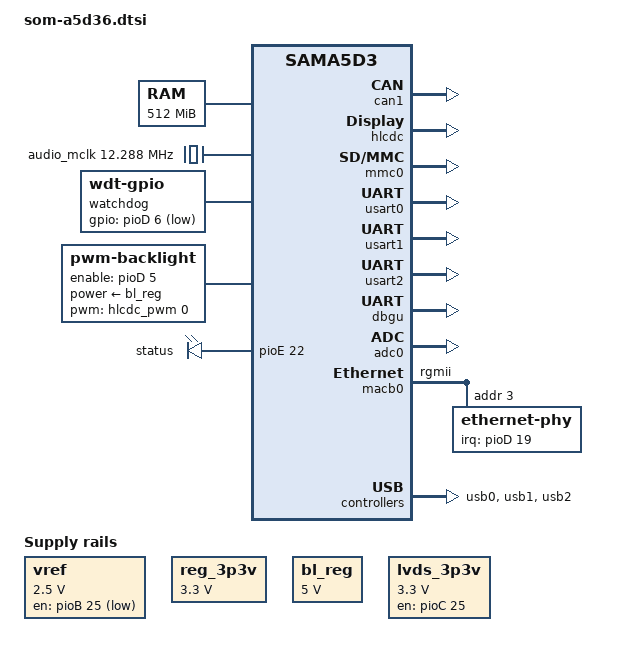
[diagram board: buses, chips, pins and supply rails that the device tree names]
/*
 * som-a5d36.dtsi - Device Tree inclue file for the SOM-3354M with SOM-2xx carriers.
 *
 * Copyright (C) 2018 EMAC Inc.
 *
 * This program is free software; you can redistribute it and/or modify
 * it under the terms of the GNU General Public License version 2 as
 * published by the Free Software Foundation.
 */

#include "sama5d36.dtsi"


/ {
	compatible = "emac,soma5d36", "atmel,sama5d3", "atmel,sama5";

	aliases {
		spi0 = &spi0;
	};

	memory {
		reg = <0x20000000 0x20000000>;
	};

	clocks {
		#address-cells = <1>;
		#size-cells = <1>;
		ranges;

		slow_xtal {
			clock-frequency = <32768>;
		};

		main_xtal {
			clock-frequency = <12000000>;
		};

		main_clock: clock@0 {
			compatible = "atmel,osc", "fixed-clock";
			clock-frequency = <12000000>;
		};

		audio_mclk: audio_mclk {
			compatible = "fixed-clock";
			#clock-cells = <0>;
			clock-frequency = <12288000>;
			clock-output-names = "mclk";
		};
	};

	regulators {
		compatible = "simple-bus";
		#address-cells = <1>;
		#size-cells = <0>;

		vref: regulator@0 {
			compatible = "regulator-fixed";
			reg = <0>;
			regulator-name = "vref";
			regulator-min-microvolt = <2500000>;
			regulator-max-microvolt = <2500000>;
			regulator-always-on;
			gpio = <&pioB 25 GPIO_ACTIVE_HIGH>;
		};

		reg_3p3v: regulator@1 {
			compatible = "regulator-fixed";
			reg = <1>;
			regulator-name = "reg_3p3v";
			regulator-min-microvolt = <3300000>;
			regulator-max-microvolt = <3300000>;
			regulator-always-on;
		};

		bl_reg: backlight-regulator {
			compatible = "regulator-fixed";
			reg = <2>;
			regulator-name = "backlight-power-supply";
			regulator-min-microvolt = <5000000>;
			regulator-max-microvolt = <5000000>;
			regulator-boot-on;
			regulator-always-on;
		};

		lvds_3p3v: lvds_3p3v_reg {
			compatible = "regulator-fixed";
			reg = <3>;
			regulator-name = "LVDS 3P3V";
			regulator-min-microvolt = <3300000>;
			regulator-max-microvolt = <3300000>;
			regulator-boot-on;
			enable-active-high;
			gpio = <&pioC 25 GPIO_ACTIVE_LOW>;
		};
	};

	ahb {
		apb {
			pinctrl@fffff200 {
				pck0 {
					pinctrl_pck0: pck0_as_clk_mck {
						atmel,pins =
							<AT91_PIOD 30 AT91_PERIPH_B AT91_PINCTRL_NONE>;
					};
				};

				usba {
					pinctrl_usba_vbus: usba_vbus {
						atmel,pins =
							<AT91_PIOC 27 AT91_PERIPH_GPIO AT91_PINCTRL_DEGLITCH>;
					};
				};

				ssc0 {
					pinctrl_ssc0_txrx: ssc0_txrx {
						atmel,pins =
							<AT91_PIOC 16 AT91_PERIPH_A AT91_PINCTRL_NONE	/* PC16 periph A TK0 */
							 AT91_PIOC 17 AT91_PERIPH_A AT91_PINCTRL_NONE	/* PC17 periph A TF0 */
							 AT91_PIOC 18 AT91_PERIPH_A AT91_PINCTRL_NONE	/* PC18 periph A TD0 */
							 AT91_PIOC 20 AT91_PERIPH_A AT91_PINCTRL_NONE	/* PC20 periph A RF0 */
							 AT91_PIOC 21 AT91_PERIPH_A AT91_PINCTRL_NONE>;	/* PC21 periph A RD0 */
					};
				};
			};

			can1: can@f8010000 {
				status = "okay";
			};

			hlcdc: hlcdc@f0030000 {
				status = "okay";

				hlcdc-display-controller {
				pinctrl-names = "default";
				pinctrl-0 = <&pinctrl_lcd_base &pinctrl_lcd_rgb888>;

					port@0 {
						hlcdc_panel_output: endpoint@0 {
							reg = <0>;
							remote-endpoint = <&panel_input>;
						};
					};
				};
			};

			mmc0: mmc@f0000000 {
				pinctrl-names = "default";
				pinctrl-0 = <&pinctrl_mmc0_clk_cmd_dat0 &pinctrl_mmc0_dat1_3>;
				status = "okay";
				slot@0 {
					reg = <0>;
					bus-width = <4>;
					non-removable;
				};
			};

			usart0: serial@f001c000 {
				atmel,use-dma-tx;
				atmel,use-dma-rx;
				status = "okay";
			};

			usart1: serial@f0020000 {
				pinctrl-names = "default";
				pinctrl-0 = <&pinctrl_usart1 &pinctrl_usart1_rts_cts>;
				atmel,use-dma-tx;
				atmel,use-dma-rx;
				status = "okay";
			};

			usart2: serial@f8020000 {
				pinctrl-names = "default";
				pinctrl-0 = <&pinctrl_usart2 &pinctrl_usart2_rts_cts>;
				atmel,use-dma-tx;
				atmel,use-dma-rx;

				status = "okay";
			};

			dbgu: serial@ffffee00 {
				atmel,use-dma-tx;
				atmel,use-dma-rx;
				status = "okay";
			};

			ssc0: ssc@f0008000 {
				#sound-dai-cells = <0>;
				pinctrl-names = "default";
				pinctrl-0 = <&pinctrl_ssc0_txrx>;
				status = "okay";
			};

			adc0: adc@f8018000 {
				pinctrl-names = "default";
				pinctrl-0 = <
					&pinctrl_adc0_ad0
					&pinctrl_adc0_ad1
					&pinctrl_adc0_ad2
					&pinctrl_adc0_ad3
					&pinctrl_adc0_ad4
					&pinctrl_adc0_ad5
					&pinctrl_adc0_ad6
					&pinctrl_adc0_ad7
					>;

				atmel,adc-vref = <2500>;
				atmel,adc-channels-used = <0xff>;
				atmel,adc-ts-wires = <4>;
				atmel,adc-ts-pressure-threshold = <10000>;
				status = "okay";
			};

			macb0: ethernet@f0028000 {
				phy-mode = "rgmii";
				status = "okay";
				#address-cells = <1>;
				#size-cells = <0>;

				ethernet-phy@3 {
					reg = <0x3>;
					interrupt-parent = <&pioD>;
					interrupts = <19 IRQ_TYPE_EDGE_FALLING>;
					txen-skew-ps = <800>;
					txc-skew-ps = <3000>;
					rxdv-skew-ps = <400>;
					rxc-skew-ps = <3000>;
					rxd0-skew-ps = <400>;
					rxd1-skew-ps = <400>;
					rxd2-skew-ps = <400>;
					rxd3-skew-ps = <400>;
				};
			};
		};

		usb0: gadget@500000 {
			atmel,vbus-gpio = <&pioC 27 GPIO_ACTIVE_HIGH>;
			pinctrl-names = "default";
			pinctrl-0 = <&pinctrl_usba_vbus>;
			status = "okay";
		};

		usb1: ohci@600000 {
			num-ports = <3>;
			status = "okay";
		};

		usb2: ehci@700000 {
			status = "okay";
		};
	};
	
	watchdog {
		/* MAX6747 */
		compatible = "linux,wdt-gpio";
		gpios = <&pioD 6 GPIO_ACTIVE_LOW>;
		hw_algo = "toggle";
		hw_margin_ms = <1000>;
	};

	backlight: backlight {
		compatible = "pwm-backlight";
		pwms = <&hlcdc_pwm 0 50000 0>;
		power-supply = <&bl_reg>;
		enable-gpios = <&pioD 5 GPIO_ACTIVE_HIGH>;
		brightness-levels = <0 4 8 16 32 64 128 255>;
		default-brightness-level = <6>;
		status = "okay";
	};

	gpio-leds {
		compatible = "gpio-leds";
		pinctrl-names = "default";
		pinctrl-0 = <&pinctrl_led>;
		status {
			label = "status";
			gpios = <&pioE 22 GPIO_ACTIVE_HIGH>;
			default-state = "on";
		};
	};
};
